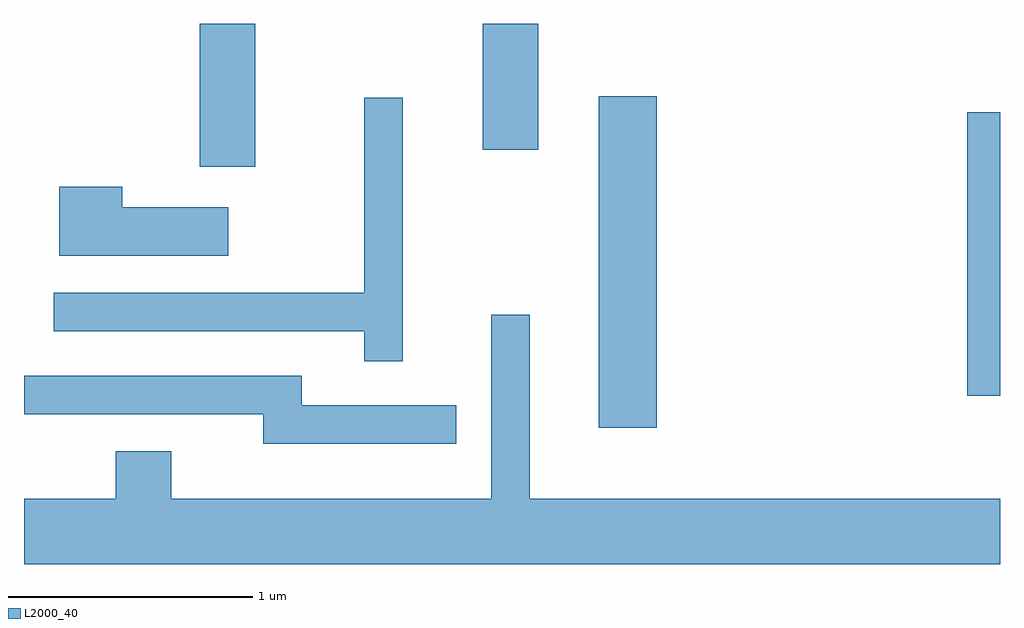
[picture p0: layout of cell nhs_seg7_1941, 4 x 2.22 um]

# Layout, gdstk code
import gdstk
lib = gdstk.Library(unit=1e-6, precision=1e-09)
def R(c, l, rs):  # rectangles x0, y0, x1, y1
    for r in rs: c.add(gdstk.rectangle(r[:2], r[2:], *l))
def P(c, l, *ps):  # polygons
    for p in ps: c.add(gdstk.Polygon(p, *l))
L2000_40 = (2000, 40)

nhs_seg7_1941 = lib.new_cell('nhs_seg7_1941')
R(nhs_seg7_1941, L2000_40, [(245.966,1772.596,246.204,1773.954), (247.476,1772.726,247.611,1773.889), (244.331,1773.666,244.559,1774.252), (245.491,1773.736,245.719,1774.252)])
P(nhs_seg7_1941, L2000_40, [(245.164,1773.948),(245.006,1773.948),(245.006,1773.149),(243.733,1773.149),(243.733,1772.991),(245.006,1772.991),(245.006,1772.868),(245.164,1772.868)],
  [(244.449,1773.499),(244.014,1773.499),(244.014,1773.584),(243.756,1773.584),(243.756,1773.301),(244.449,1773.301)],
  [(247.611,1772.304),(245.684,1772.304),(245.684,1773.058),(245.526,1773.058),(245.526,1772.304),(244.214,1772.304),(244.214,1772.499),(243.986,1772.499),(243.986,1772.304),(243.611,1772.304),(243.611,1772.036),(247.611,1772.036)],
  [(245.383,1772.689),(244.749,1772.689),(244.749,1772.809),(243.611,1772.809),(243.611,1772.651),(244.591,1772.651),(244.591,1772.531),(245.383,1772.531)])

lib.write_gds('nhs_seg7_1941.gds')
